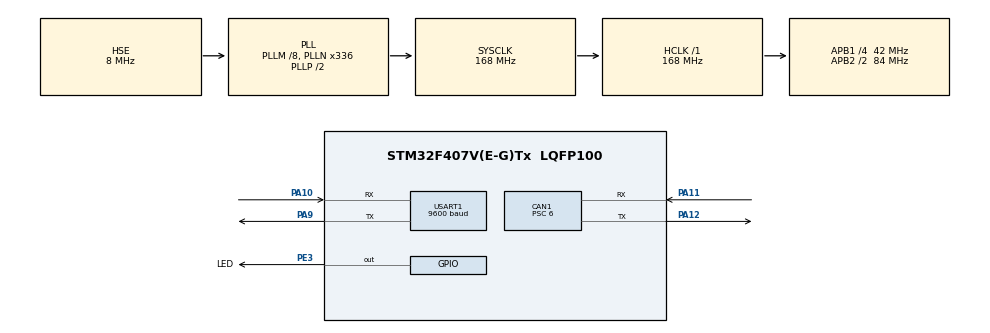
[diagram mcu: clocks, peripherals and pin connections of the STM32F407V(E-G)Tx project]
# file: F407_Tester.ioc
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CAN1.ABOM=ENABLE
CAN1.BS1=CAN_BS1_11TQ
CAN1.BS2=CAN_BS2_2TQ
CAN1.CalculateTimeQuantum=142.85714285714286
CAN1.NART=ENABLE
CAN1.Prescaler=6
FREERTOS.Tasks01=defaultTask,0,256,StartDefaultTask,Default,NULL,Dynamic,NULL,NULL
Mcu.Family=STM32F4
Mcu.Name=STM32F407V(E-G)Tx
Mcu.Package=LQFP100
NVIC.CAN1_RX0_IRQn=true\:5\:0\:false\:false\:true\:false\:true\:true
NVIC.CAN1_SCE_IRQn=true\:5\:0\:false\:false\:true\:false\:true\:true
NVIC.PriorityGroup=NVIC_PRIORITYGROUP_4
NVIC.TIM6_DAC_IRQn=true\:0\:0\:false\:false\:true\:false\:false\:true
NVIC.TimeBase=TIM6_DAC_IRQn
NVIC.TimeBaseIP=TIM6
NVIC.USART1_IRQn=true\:5\:0\:false\:false\:true\:false\:true\:true
PA10.Mode=Asynchronous
PA10.Signal=USART1_RX
PA11.Mode=Master
PA11.Signal=CAN1_RX
PA12.Mode=Master
PA12.Signal=CAN1_TX
PA13.Mode=Serial_Wire
PA13.Signal=SYS_JTMS-SWDIO
PA14.Mode=Serial_Wire
PA14.Signal=SYS_JTCK-SWCLK
PA9.Mode=Asynchronous
PA9.Signal=USART1_TX
PE3.GPIO_Label=LED
PE3.Signal=GPIO_Output
PH0-OSC_IN.Mode=HSE-External-Oscillator
PH0-OSC_IN.Signal=RCC_OSC_IN
PH1-OSC_OUT.Mode=HSE-External-Oscillator
PH1-OSC_OUT.Signal=RCC_OSC_OUT
ProjectManager.HeapSize=0x200
ProjectManager.StackSize=0x400
ProjectManager.TargetToolchain=STM32CubeIDE
RCC.48MHZClocksFreq_Value=84000000
RCC.AHBFreq_Value=168000000
RCC.APB1CLKDivider=RCC_HCLK_DIV4
RCC.APB1Freq_Value=42000000
RCC.APB1TimFreq_Value=84000000
RCC.APB2CLKDivider=RCC_HCLK_DIV2
RCC.APB2Freq_Value=84000000
RCC.APB2TimFreq_Value=168000000
RCC.CortexFreq_Value=168000000
RCC.HCLKFreq_Value=168000000
RCC.HSE_VALUE=8000000
RCC.HSI_VALUE=16000000
RCC.LSE_VALUE=32768
RCC.PLLM=8
RCC.PLLN=336
RCC.PLLSourceVirtual=RCC_PLLSOURCE_HSE
RCC.SYSCLKFreq_VALUE=168000000
RCC.SYSCLKSource=RCC_SYSCLKSOURCE_PLLCLK
RCC.VCOOutputFreq_Value=336000000
USART1.BaudRate=9600
USART1.VirtualMode=VM_ASYNC
VP_FREERTOS_VS_CMSIS_V1.Mode=CMSIS_V1
VP_SYS_VS_tim6.Mode=TIM6
board=custom

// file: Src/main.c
/* USER CODE BEGIN Header */
/**
  ******************************************************************************
  * @file           : main.c
  * @brief          : Main program body
  ******************************************************************************
  * @attention
  *
  * <h2><center>&copy; Copyright (c) 2026 STMicroelectronics.
  * All rights reserved.</center></h2>
  *
  * This software component is licensed by ST under BSD 3-Clause license,
  * the "License"; You may not use this file except in compliance with the
  * License. You may obtain a copy of the License at:
  *                        opensource.org/licenses/BSD-3-Clause
  *
  ******************************************************************************
  */
/* USER CODE END Header */
#include "main.h"
#include "cmsis_os.h"

/* USER CODE BEGIN Includes */
#include "minidcm_app.h"
#include "FreeRTOS.h"
#include "task.h"
/* USER CODE END Includes */

CAN_HandleTypeDef hcan1;

UART_HandleTypeDef huart1;

osThreadId defaultTaskHandle;
/* USER CODE BEGIN PV */
osThreadId testerHeartbeatTaskHandle;
static uint8_t g_uart1_rx_byte;
/* USER CODE END PV */

void SystemClock_Config(void);
static void MX_GPIO_Init(void);
static void MX_USART1_UART_Init(void);
static void MX_CAN1_Init(void);
void StartDefaultTask(void const * argument);
void StartTesterHeartbeatTask(void const * argument);

/* USER CODE BEGIN 0 */
void F407_NotifyBridgeTaskFromIsr(void)
{
  BaseType_t higher_priority_task_woken = pdFALSE;

  if (defaultTaskHandle != NULL)
  {
    vTaskNotifyGiveFromISR((TaskHandle_t)defaultTaskHandle, &higher_priority_task_woken);
    portYIELD_FROM_ISR(higher_priority_task_woken);
  }
}
/* USER CODE END 0 */

int main(void)
{

  /* MCU Configuration--------------------------------------------------------*/

  /* Reset of all peripherals, Initializes the Flash interface and the Systick. */
  HAL_Init();

  /* Configure the system clock */
  SystemClock_Config();

  /* Initialize all configured peripherals */
  MX_GPIO_Init();
  MX_USART1_UART_Init();
  MX_CAN1_Init();
  /* USER CODE BEGIN 2 */
  Minidcm_AppInit(&huart1, &hcan1);

  HAL_UART_Receive_IT(&huart1, &g_uart1_rx_byte, 1u);
  /* USER CODE END 2 */

  /* Create the thread(s) */
  /* definition and creation of defaultTask */
  osThreadDef(defaultTask, StartDefaultTask, osPriorityNormal, 0, 256);
  defaultTaskHandle = osThreadCreate(osThread(defaultTask), NULL);

  /* USER CODE BEGIN RTOS_THREADS */
  /* The bridge remains the existing default task in V2.3-1. */
  osThreadDef(testerHeartbeatTask, StartTesterHeartbeatTask, osPriorityLow, 0, 128);
  testerHeartbeatTaskHandle = osThreadCreate(osThread(testerHeartbeatTask), NULL);
  /* USER CODE END RTOS_THREADS */

  /* Start scheduler */
  osKernelStart();

  /* We should never get here as control is now taken by the scheduler */
  /* Infinite loop */
  /* USER CODE BEGIN WHILE */
  while (1)
  {
    /* Scheduler owns bridge and heartbeat execution after osKernelStart(). */
    /* USER CODE END WHILE */

  }
}

void SystemClock_Config(void)
{
  RCC_OscInitTypeDef RCC_OscInitStruct = {0};
  RCC_ClkInitTypeDef RCC_ClkInitStruct = {0};

  /** Configure the main internal regulator output voltage
  */
  __HAL_RCC_PWR_CLK_ENABLE();
  __HAL_PWR_VOLTAGESCALING_CONFIG(PWR_REGULATOR_VOLTAGE_SCALE1);
  /** Initializes the RCC Oscillators according to the specified parameters
  * in the RCC_OscInitTypeDef structure.
  */
  RCC_OscInitStruct.OscillatorType = RCC_OSCILLATORTYPE_HSE;
  RCC_OscInitStruct.HSEState = RCC_HSE_ON;
  RCC_OscInitStruct.PLL.PLLState = RCC_PLL_ON;
  RCC_OscInitStruct.PLL.PLLSource = RCC_PLLSOURCE_HSE;
  RCC_OscInitStruct.PLL.PLLM = 8;
  RCC_OscInitStruct.PLL.PLLN = 336;
  RCC_OscInitStruct.PLL.PLLP = RCC_PLLP_DIV2;
  RCC_OscInitStruct.PLL.PLLQ = 4;
  if (HAL_RCC_OscConfig(&RCC_OscInitStruct) != HAL_OK)
  {
    Error_Handler();
  }
  /** Initializes the CPU, AHB and APB buses clocks
  */
  RCC_ClkInitStruct.ClockType = RCC_CLOCKTYPE_HCLK|RCC_CLOCKTYPE_SYSCLK
                              |RCC_CLOCKTYPE_PCLK1|RCC_CLOCKTYPE_PCLK2;
  RCC_ClkInitStruct.SYSCLKSource = RCC_SYSCLKSOURCE_PLLCLK;
  RCC_ClkInitStruct.AHBCLKDivider = RCC_SYSCLK_DIV1;
  RCC_ClkInitStruct.APB1CLKDivider = RCC_HCLK_DIV4;
  RCC_ClkInitStruct.APB2CLKDivider = RCC_HCLK_DIV2;

  if (HAL_RCC_ClockConfig(&RCC_ClkInitStruct, FLASH_LATENCY_5) != HAL_OK)
  {
    Error_Handler();
  }
}

static void MX_CAN1_Init(void)
{

  hcan1.Instance = CAN1;
  hcan1.Init.Prescaler = 6;
  hcan1.Init.Mode = CAN_MODE_NORMAL;
  hcan1.Init.SyncJumpWidth = CAN_SJW_1TQ;
  hcan1.Init.TimeSeg1 = CAN_BS1_11TQ;
  hcan1.Init.TimeSeg2 = CAN_BS2_2TQ;
  hcan1.Init.TimeTriggeredMode = DISABLE;
  hcan1.Init.AutoBusOff = ENABLE;
  hcan1.Init.AutoWakeUp = DISABLE;
  hcan1.Init.AutoRetransmission = ENABLE;
  hcan1.Init.ReceiveFifoLocked = DISABLE;
  hcan1.Init.TransmitFifoPriority = DISABLE;
  if (HAL_CAN_Init(&hcan1) != HAL_OK)
  {
    Error_Handler();
  }

}

static void MX_USART1_UART_Init(void)
{

  huart1.Instance = USART1;
  huart1.Init.BaudRate = 9600;
  huart1.Init.WordLength = UART_WORDLENGTH_8B;
  huart1.Init.StopBits = UART_STOPBITS_1;
  huart1.Init.Parity = UART_PARITY_NONE;
  huart1.Init.Mode = UART_MODE_TX_RX;
  huart1.Init.HwFlowCtl = UART_HWCONTROL_NONE;
  huart1.Init.OverSampling = UART_OVERSAMPLING_16;
  if (HAL_UART_Init(&huart1) != HAL_OK)
  {
    Error_Handler();
  }

}

static void MX_GPIO_Init(void)
{
  GPIO_InitTypeDef GPIO_InitStruct = {0};

  /* GPIO Ports Clock Enable */
  __HAL_RCC_GPIOE_CLK_ENABLE();
  __HAL_RCC_GPIOH_CLK_ENABLE();
  __HAL_RCC_GPIOA_CLK_ENABLE();

  /*Configure GPIO pin Output Level */
  HAL_GPIO_WritePin(LED_GPIO_Port, LED_Pin, GPIO_PIN_RESET);

  /*Configure GPIO pin : LED_Pin */
  GPIO_InitStruct.Pin = LED_Pin;
  GPIO_InitStruct.Mode = GPIO_MODE_OUTPUT_PP;
  GPIO_InitStruct.Pull = GPIO_NOPULL;
  GPIO_InitStruct.Speed = GPIO_SPEED_FREQ_LOW;
  HAL_GPIO_Init(LED_GPIO_Port, &GPIO_InitStruct);

}

/* USER CODE BEGIN 4 */
void HAL_UART_RxCpltCallback(UART_HandleTypeDef *huart)
{
    if (huart->Instance == USART1)
    {
        Minidcm_AppOnRxByte(g_uart1_rx_byte);
        Minidcm_AppOnUartIsrNotify();
        F407_NotifyBridgeTaskFromIsr();
        HAL_UART_Receive_IT(&huart1, &g_uart1_rx_byte, 1u);
    }
}

void HAL_CAN_RxFifo0MsgPendingCallback(CAN_HandleTypeDef *hcan)
{
    CAN_RxHeaderTypeDef rx_header;
    uint8_t rx_data[8];

    if (hcan->Instance == CAN1)
    {
        if (HAL_CAN_GetRxMessage(hcan, CAN_RX_FIFO0, &rx_header, rx_data) == HAL_OK)
        {
            Minidcm_AppOnCanRx(&rx_header, rx_data);
            Minidcm_AppOnCanIsrNotify();
            F407_NotifyBridgeTaskFromIsr();
        }
    }
}

void HAL_CAN_ErrorCallback(CAN_HandleTypeDef *hcan)
{
    if (hcan->Instance == CAN1)
    {
        Minidcm_AppOnCanError();
    }
}

void StartTesterHeartbeatTask(void const * argument)
{
  (void)argument;

  for (;;)
  {
    HAL_GPIO_TogglePin(LED_GPIO_Port, LED_Pin);
    Minidcm_AppOnHeartbeatTask();
    osDelay(500u);
  }
}
/* USER CODE END 4 */

void StartDefaultTask(void const * argument)
{
  /* USER CODE BEGIN 5 */
  /* Infinite loop */
  for(;;)
  {
    /* Event-driven bridge: ISR notification with a 10 ms safety timeout. */
    (void)ulTaskNotifyTake(pdTRUE, pdMS_TO_TICKS(10u));
    Minidcm_AppOnBridgeTaskWakeup();
    Minidcm_AppOnStackHighWaterMark((uint16_t)uxTaskGetStackHighWaterMark((TaskHandle_t)defaultTaskHandle), (uint16_t)uxTaskGetStackHighWaterMark((TaskHandle_t)testerHeartbeatTaskHandle));
    Minidcm_AppPoll();
  }
  /* USER CODE END 5 */
}

void HAL_TIM_PeriodElapsedCallback(TIM_HandleTypeDef *htim)
{
  if (htim->Instance == TIM6) {
    HAL_IncTick();
  }
}

void Error_Handler(void)
{
}

/************************ (C) COPYRIGHT STMicroelectronics *****END OF FILE****/
